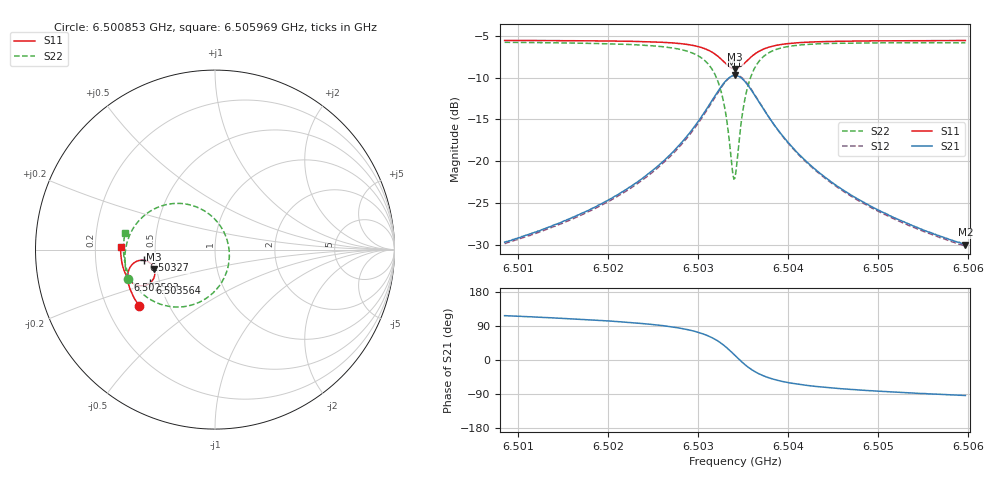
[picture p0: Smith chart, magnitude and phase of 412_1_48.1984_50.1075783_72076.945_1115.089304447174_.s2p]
#  HZ  S  RI  R  50.00
! Rohde & Schwarz Vector Network Analyzer
! Rohde-Schwarz,ZNB20-2Port,1311601062101988,3.16
! Created: UTC 3/20/2024, 11:54:33 AM
! freq[Hz]  re:S11  im:S11  re:S21  im:S21  re:S12  im:S12  re:S22  im:S22
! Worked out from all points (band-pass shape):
!   401 points, 6.500853 GHz to 6.505969 GHz, reference 50 ohm
!   highest |S21| = -9.74 dB at 6.503411 GHz (marker M1); lowest = -29.9 dB at 6.505969 GHz (marker M2)
!   |S21| within 3 dB of the highest: 6.503156 GHz to 6.503667 GHz (511.3 kHz wide, 0.00786 % of centre)
!   lowest |S11| = -9.0 dB at 6.503411 GHz (marker M3), VSWR 2.10, Z = 24.2 - j6.02 ohm
!   |S11| at or under -10 dB: nowhere
!   |S22| runs from -22.1 to -5.8 dB; largest |S21 - S12| = 0.011
!   S11 on the Smith chart (normalised r, x): 6.500853 GHz: 0.34, -0.30; 6.502593 GHz: 0.33, -0.15; 6.50327 GHz: 0.43, -0.06; 6.503564 GHz: 0.44, -0.20; 6.505969 GHz: 0.31, +0.01
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6.5008534e9  -0.4217 -0.3153  -0.015 0.0294  -0.0134 0.0294  -0.4866 -0.1634
6.5017102e9  -0.4594 -0.2527  -0.0145 0.0468  -0.012 0.0465  -0.5015 -0.0738
6.5021961e9  -0.4767 -0.21  -0.0116 0.0667  -0.00862 0.0656  -0.499 -0.00591
6.502567e9  -0.4858 -0.1696  -0.00302 0.0951  0.000597 0.0928  -0.4809 0.0669
6.5025926e9  -0.4861 -0.1662  -0.0018 0.0976  0.00173 0.0953  -0.4786 0.0733
6.5028355e9  -0.4848 -0.1306  0.0174 0.1316  0.021 0.1277  -0.4383 0.1438
6.5030146e9  -0.4723 -0.0967  0.0541 0.1683  0.0573 0.1629  -0.3663 0.2106
6.503168e9  -0.4394 -0.0665  0.1275 0.1988  0.1286 0.1925  -0.2321 0.2566
6.5032703e9  -0.3967 -0.0595  0.2124 0.1903  0.2126 0.1852  -0.0842 0.2295
6.5033215e9  -0.3712 -0.0681  0.2606 0.1626  0.2613 0.1582  -0.00404 0.1728
6.5033854e9  -0.3446 -0.0943  0.3083 0.0997  0.3107 0.0949  0.0679 0.0517
6.503411e9  -0.3382 -0.1086  0.3187 0.0678  0.3217 0.0622  0.0792 -0.00769
6.5034366e9  -0.3352 -0.1242  0.3224 0.0346  0.3258 0.0278  0.0777 -0.0685
6.5035005e9  -0.342 -0.1609  0.3048 -0.0429  0.3069 -0.0526  0.0235 -0.2027
6.5035644e9  -0.3629 -0.1869  0.2625 -0.097  0.2616 -0.1077  -0.0718 -0.2853
6.5036667e9  -0.4022 -0.2019  0.1886 -0.133  0.1835 -0.1423  -0.2206 -0.3198
6.503833e9  -0.448 -0.1924  0.1077 -0.1301  0.1009 -0.1353  -0.3665 -0.2739
6.504012e9  -0.4753 -0.171  0.0635 -0.1106  0.0574 -0.1127  -0.4382 -0.2096
6.5042678e9  -0.4959 -0.1411  0.0338 -0.0866  0.0291 -0.087  -0.4813 -0.1382
6.5046386e9  -0.5113 -0.1026  0.0153 -0.0643  0.0121 -0.0639  -0.5034 -0.0656
6.5051246e9  -0.521 -0.0579  0.00505 -0.0472  0.00272 -0.0468  -0.5098 0.00206
6.5059686e9  -0.5259 0.0133  -0.00209 -0.0318  -0.00336 -0.031  -0.5018 0.0903
